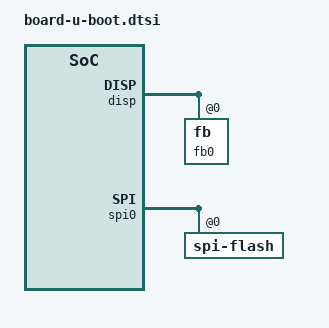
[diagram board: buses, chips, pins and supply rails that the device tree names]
/ {
	aliases {
	};

	cpus {
		u-boot,dm-pre-reloc;
		cpu0: cpu@0 {
			u-boot,dm-pre-reloc;
		};
	};

	clocks {
		u-boot,dm-pre-reloc;
	};

	soc {
		u-boot,dm-pre-reloc;
	};

	timer {
		u-boot,dm-pre-reloc;
	};
	panel_rgb {
		u-boot,dm-pre-reloc;
		port {
			panel_rgb_in: endpoint {
				u-boot,dm-pre-reloc;
			};
		};

		display-timings {
			u-boot,dm-pre-reloc;
			timing0: 1024x600 {
				u-boot,dm-pre-reloc;
			};
		};
	};
	backlight: backlight {
		u-boot,dm-pre-reloc;
	};
};
&pwm {

	u-boot,dm-pre-reloc;
	pwm0 {
		u-boot,dm-pre-reloc;
	};
	pwm1 {
		u-boot,dm-pre-reloc;
	};
	pwm2 {
		u-boot,dm-pre-reloc;
	};
	pwm3 {
		u-boot,dm-pre-reloc;
	};
};

&ve {
	u-boot,dm-pre-reloc;
};
&disp {
	u-boot,dm-pre-reloc;
	fb0: fb@0 {
	     u-boot,dm-pre-reloc;
		port {
			fb0_out: endpoint {
				u-boot,dm-pre-reloc;
			};
		};
	};
};
&de0 {
	u-boot,dm-pre-reloc;
	port@0 {
		de0_in: endpoint {
			u-boot,dm-pre-reloc;
		};
	};

	port@1 {
		de0_out: endpoint {
			u-boot,dm-pre-reloc;
		};
	};
};
&rgb0 {
	u-boot,dm-pre-reloc;
	port@0 {
		rgb0_in: endpoint {
			u-boot,dm-pre-reloc;
		};
	};

	port@1 {
		rgb0_out: endpoint {
			u-boot,dm-pre-reloc;
		};
	};
};

&cmu {
	u-boot,dm-pre-reloc;
};

&rst {
	u-boot,dm-pre-reloc;
};

&osc24m {
	u-boot,dm-pre-reloc;
};

&rc1m {
	u-boot,dm-pre-reloc;
};

&osc32k {
	u-boot,dm-pre-reloc;
};

&rst {
	u-boot,dm-pre-reloc;
};

&pinctrl {
	u-boot,dm-pre-reloc;
	gpio_a: bank-0 {
		u-boot,dm-pre-reloc;
	};
	gpio_b: bank-1 {
		u-boot,dm-pre-reloc;
	};
	gpio_c: bank-2 {
		u-boot,dm-pre-reloc;
	};
	gpio_d: bank-3 {
		u-boot,dm-pre-reloc;
	};
	gpio_e: bank-4 {
		u-boot,dm-pre-reloc;
	};
	gpio_f: bank-5 {
		u-boot,dm-pre-reloc;
	};
	lcd_pins: lcd-0 {
			u-boot,dm-pre-reloc;
		pins {
			u-boot,dm-pre-reloc;
		};
	};
	uart1_pins_a: uart1-0 {
		u-boot,dm-pre-reloc;
		pins {
			u-boot,dm-pre-reloc;
		};
	};
	sdmc1_pins: sdmc1-0 {
		u-boot,dm-pre-reloc;
		pins {
			u-boot,dm-pre-reloc;
		};
	};
	spi0_pins_a: spi0-0 {
		u-boot,dm-pre-reloc;
		pins {
			u-boot,dm-pre-reloc;
		};
	};
	pwm3_pins_a_1: pwm3-0-1 {
		u-boot,dm-pre-reloc;
		pins {
			u-boot,dm-pre-reloc;
		};
	};
};

&uart1 {
	u-boot,dm-pre-reloc;
};

&sdmc1 {
	u-boot,dm-pre-reloc;
};

&dma {
	u-boot,dm-pre-reloc;
};

&spi0 {
	u-boot,dm-pre-reloc;
	spi-flash@0 {
		u-boot,dm-pre-reloc;
	};
};

&spi1 {
	u-boot,dm-pre-reloc;
};
